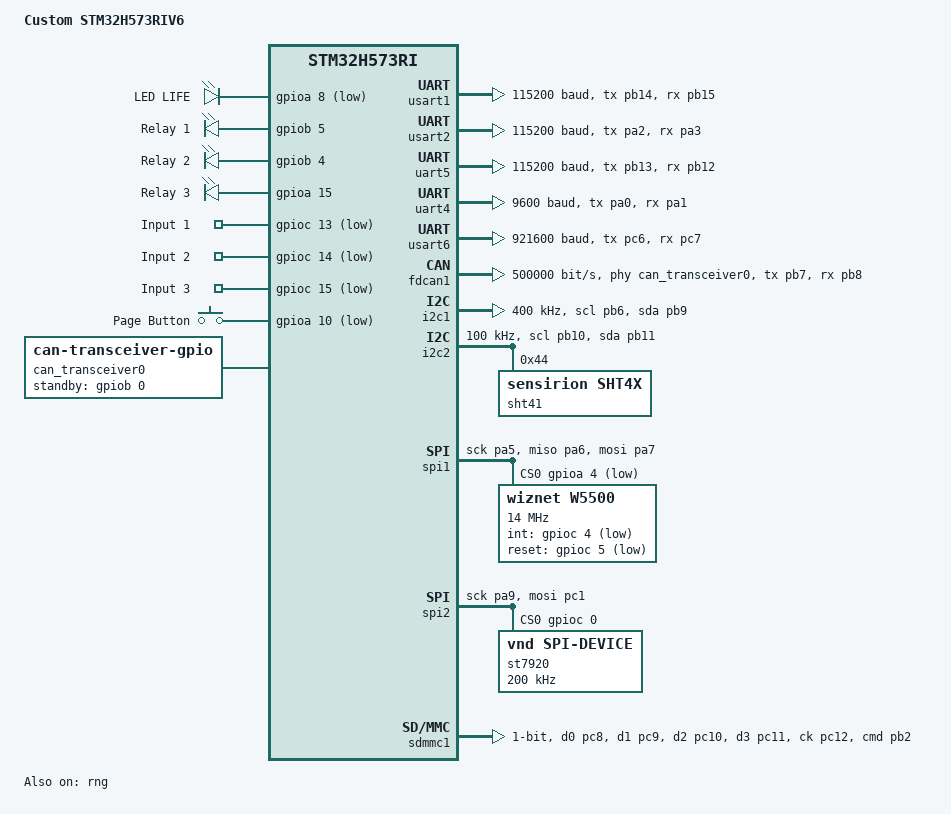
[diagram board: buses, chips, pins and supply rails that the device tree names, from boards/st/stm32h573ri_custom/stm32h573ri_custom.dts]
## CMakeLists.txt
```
cmake_minimum_required(VERSION 3.20.0)
find_package(Zephyr REQUIRED HINTS $ENV{ZEPHYR_BASE})
project(FPT_DMI_Embedded-IoT_Course VERSION 1.0.0)

# Thư mục chứa toàn bộ driver của môn học
set(DRIVER_DIR ${CMAKE_CURRENT_SOURCE_DIR}/driver)

# 1. Thư mục chứa file .h: MQTT cần thêm driver Ethernet
target_include_directories(app PRIVATE
  src
  ${DRIVER_DIR}/devices/ethernet
  ${DRIVER_DIR}/services/mqtt
  ${DRIVER_DIR}/peripherals/gpio
  ${DRIVER_DIR}/devices/dht11
)

# 2. Các file .c cần biên dịch
target_sources(app PRIVATE
  src/main.c
  ${DRIVER_DIR}/devices/ethernet/driver_ethernet.c
  ${DRIVER_DIR}/services/mqtt/driver_mqtt.c
  ${DRIVER_DIR}/peripherals/gpio/driver_gpio.c
  ${DRIVER_DIR}/devices/dht11/driver_dht11.c
)
```

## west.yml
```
# west manifest for FPT_DMI_Embedded-IoT_Course.
#
#   west init -l --mf FPT_DMI_Embedded-IoT_Course/west.yml fptUniversity
#   (run from the directory that holds the fptUniversity clone)
#   west update
#
# Only the modules this course needs are fetched.
manifest:
  version: "1.2"

  remotes:
    - name: zephyrproject-rtos
      url-base: https://github.com/zephyrproject-rtos

  projects:
    - name: zephyr
      remote: zephyrproject-rtos
      revision: v4.4.2
      import:
        name-allowlist:
          - cmsis
          - cmsis_6
          - hal_stm32
          - mbedtls
          - mcuboot
          - picolibc
          - segger
          - tf-psa-crypto
          - zcbor

  self:
    path: fptUniversity
```

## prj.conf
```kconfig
# --- Log over SEGGER RTT (read with scripts/rtt.sh) ---
CONFIG_PRINTK=y
CONFIG_CONSOLE=y
CONFIG_USE_SEGGER_RTT=y
CONFIG_RTT_CONSOLE=y
# No UART console (UART5 is reserved for the MCUboot log)
CONFIG_UART_CONSOLE=n
# No UART driver: every UART is switched off in app.overlay
CONFIG_SERIAL=n
CONFIG_UART_STM32=n
# Keep SWD reachable while the CPU sleeps (WFI), otherwise RTT/flashing loses the connection
CONFIG_STM32_ENABLE_DEBUG_SLEEP_STOP=y

# --- Required when running after MCUboot ---
CONFIG_BOOTLOADER_MCUBOOT=y

# --- Relay 1 (GPIO) and DHT11 ---
CONFIG_GPIO=y
CONFIG_SENSOR=y
CONFIG_DHT=y
CONFIG_DHT_LOCK_IRQS=y

# --- Ethernet (W5500 on SPI1) ---
CONFIG_SPI=y
CONFIG_ETH_W5500=y
CONFIG_NETWORKING=y
CONFIG_NET_L2_ETHERNET=y
CONFIG_NET_IPV4=y
CONFIG_NET_TCP=y
CONFIG_NET_UDP=y
CONFIG_NET_SOCKETS=y
CONFIG_NET_DHCPV4=y
CONFIG_NET_MGMT=y
CONFIG_NET_MGMT_EVENT=y
CONFIG_NET_TX_STACK_SIZE=2048
CONFIG_NET_RX_STACK_SIZE=2048
CONFIG_MAIN_STACK_SIZE=4096
CONFIG_HEAP_MEM_POOL_SIZE=16384

# --- MQTT ---
CONFIG_MQTT_LIB=y
CONFIG_NET_MAX_CONN=8
CONFIG_NET_MAX_CONTEXTS=12
CONFIG_ZVFS_POLL_MAX=6
CONFIG_POSIX_API=y

# --- DNS: resolve the broker host name (DNS server from DHCP, 8.8.8.8 as fallback) ---
CONFIG_DNS_RESOLVER=y
CONFIG_DNS_SERVER_IP_ADDRESSES=y
CONFIG_DNS_SERVER1="8.8.8.8"
```

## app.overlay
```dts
/*
 * app.overlay - example MQTT (DHT11 + Relay 1).
 *
 * Used here: SPI1 + W5500 (Ethernet), RNG (network), GPIO for DHT11 and Relay 1.
 * Everything else the board enables is switched off below.
 */

/* ---- Ethernet: every board on the same network needs its own MAC ---- */
&w5500 {
	local-mac-address = [00 08 DC 01 02 07];   /* change the last byte (hex) */
};

/ {
	/* DHT11 DATA on PE0 (U16-8) */
	dht11: dht11 {
		compatible = "aosong,dht";
		dio-gpios = <&gpioe 0 (GPIO_ACTIVE_LOW | GPIO_OPEN_DRAIN | GPIO_PULL_UP)>;
	};

	/* Relay 1 on PC2 (U16-5): output to an external relay module */
	output {
		compatible = "gpio-leds";
		relay: relay_1 {
			gpios = <&gpioc 2 GPIO_ACTIVE_HIGH>;
			label = "Relay 1 - PC2";
		};
	};

	aliases {
		dht0 = &dht11;
		out0 = &relay;
	};
};

&gpioe { status = "okay"; };   /* the board only enables gpioa..gpiod */

/* ---- Not used in this example: switched off ---- */
&usart1 { status = "disabled"; };   /* PB14/PB15 */
&usart2 { status = "disabled"; };   /* PA2/PA3 */
&uart4  { status = "disabled"; };   /* PA0/PA1, RS485 */
&uart5  { status = "disabled"; };   /* PB12/PB13, only MCUboot logs here */
&usart6 { status = "disabled"; };   /* PC6/PC7 */
&fdcan1 { status = "disabled"; };   /* CAN */
&i2c1   { status = "disabled"; };   /* PB6/PB9, LCD */
&i2c2   { status = "disabled"; };   /* PB10/PB11 */
&sht41  { status = "disabled"; };   /* SHT41 on I2C2 */
&spi2   { status = "disabled"; };   /* PA9/PC1/PC0 */
&sdmmc1 { status = "disabled"; };   /* SD card */
```

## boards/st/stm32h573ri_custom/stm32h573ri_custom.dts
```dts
/dts-v1/;
#include <st/h5/stm32h573Xi.dtsi>
#include "stm32h573ri_custom-pinctrl.dtsi"
/ {
    model="Custom STM32H573RIV6";
    compatible="st,stm32h573ri-custom";

    chosen {
        zephyr,console=&uart5;
        zephyr,shell-uart=&uart5;
        zephyr,sram=&sram1; zephyr,flash=&flash0;
        zephyr,code-partition=&slot0_partition;
        zephyr,canbus=&fdcan1;
        };

    leds {
        compatible="gpio-leds";
        /* LED5 "LED LIFE": anode to +3V3 via R81, cathode to PA8 -> active low */
        user_led: led_0 {
            gpios=<&gpioa 8 GPIO_ACTIVE_LOW>;
            label="LED LIFE";
        };
    };

    /*
     * Relays: MCU -> ISO7730 U12 -> BC817 -> coil, high = energised.
     * The schematic net names are reversed relative to the wiring; these
     * follow the wiring (PB5 drives RL1, PA15 drives RL3).
     */
    relays {
        compatible="gpio-leds";
        relay_1: relay_1 { gpios=<&gpiob 5 GPIO_ACTIVE_HIGH>;  label="Relay 1"; };
        relay_2: relay_2 { gpios=<&gpiob 4 GPIO_ACTIVE_HIGH>;  label="Relay 2"; };
        relay_3: relay_3 { gpios=<&gpioa 15 GPIO_ACTIVE_HIGH>; label="Relay 3"; };
    };

    /* Isolated inputs: PC814 opto -> ISO7730 U10 (push-pull), energised = low */
    digital_inputs {
        compatible="gpio-keys";
        input_1: input_1 { gpios=<&gpioc 13 GPIO_ACTIVE_LOW>; label="Input 1"; };
        input_2: input_2 { gpios=<&gpioc 14 GPIO_ACTIVE_LOW>; label="Input 2"; };
        input_3: input_3 { gpios=<&gpioc 15 GPIO_ACTIVE_LOW>; label="Input 3"; };
    };

    buttons {
        compatible = "gpio-keys";
        user_btn: button_0 {
            gpios = <&gpioa 10 (GPIO_ACTIVE_LOW | GPIO_PULL_UP)>;
            label = "Page Button";
        };
    };

    can_transceiver0: can-phy0 {
        compatible="can-transceiver-gpio";
        /* TCAN1057 S via ISO7731 U7, R90 pull-up: high = silent */
        standby-gpios=<&gpiob 0 GPIO_ACTIVE_HIGH>;
        max-bitrate=<1000000>;
        #phy-cells=<0>;
        };

    aliases {
        led0=&user_led;
        relay1=&relay_1; relay2=&relay_2; relay3=&relay_3;
        input1=&input_1; input2=&input_2; input3=&input_3;
    };
};

&clk_hsi { status="okay"; };

&clk_hsi48 { status="okay"; };

&clk_lsi { status="okay"; };

&pll1 {
    div-m=<32>;
    mul-n=<250>;
    div-p=<2>;
    div-q=<10>;
    div-r=<2>;
    clocks=<&clk_hsi>;
    status="okay";
};

&rcc {
    clocks=<&pll1>;
    clock-frequency=<DT_FREQ_M(250)>;
    ahb-prescaler=<1>;
    apb1-prescaler=<1>;
    apb2-prescaler=<1>;
    apb3-prescaler=<1>;
    };

&flash0 {
    partitions {
        compatible="fixed-partitions";
        #address-cells=<1>;
        #size-cells=<1>;

boot_partition:      partition@0      { label="mcuboot";       reg=<0x0      0x20000>; read-only; };
slot0_partition:     partition@20000  { label="image-0";       reg=<0x20000  0xb0000>; };
scratch_partition:   partition@d0000  { label="image-scratch"; reg=<0xd0000  0x20000>; };
slot1_partition:     partition@f0000  { label="image-1";       reg=<0xf0000  0xb0000>; };
storage_partition:   partition@1a0000 { label="config-a";      reg=<0x1a0000 0x8000>; };
storage_b_partition: partition@1a8000 { label="config-b";      reg=<0x1a8000 0x8000>; };
marker_partition:    partition@1b0000 { label="swapmark";      reg=<0x1b0000 0x2000>; }; }; };


&usart1 {
    pinctrl-0=<&usart1_tx_pb14 &usart1_rx_pb15>;
    pinctrl-names="default";
    current-speed=<115200>;
    status="okay";
    };

&usart2 {
    pinctrl-0=<&usart2_tx_pa2 &usart2_rx_pa3>;
    pinctrl-names="default";
    current-speed=<115200>;
    status="okay";
    };

&uart5 {
    pinctrl-0=<&uart5_tx_pb13 &uart5_rx_pb12>;
    pinctrl-names="default";
    current-speed=<115200>;
    status="okay";
    };

&uart4 {
    pinctrl-0=<&uart4_tx_pa0 &uart4_rx_pa1>;
    pinctrl-names="default";
    current-speed=<9600>;
    status="okay";
    };

&usart6 {
    pinctrl-0=<&usart6_tx_pc6 &usart6_rx_pc7>;
    pinctrl-names="default";
    current-speed=<921600>;
    status="okay";
    };

&fdcan1 {
    clocks=<&rcc STM32_CLOCK_BUS_APB1_2 0x00000200>,<&rcc STM32_SRC_PLL1_Q FDCAN_SEL(1)>;
    pinctrl-0=<&fdcan1_tx_pb7 &fdcan1_rx_pb8>;
    pinctrl-names="default";
    phys=<&can_transceiver0>;
    bitrate=<500000>;
    sample-point=<875>;
    status="okay";
    };

&i2c1 {
    clocks=<&rcc STM32_CLOCK_BUS_APB1 0x00200000>,<&rcc STM32_SRC_HSI I2C1_SEL(2)>;
    pinctrl-0=<&i2c1_scl_pb6 &i2c1_sda_pb9>;
    pinctrl-names="default";
    clock-frequency=<I2C_BITRATE_FAST>;
    status="okay";
    };

&i2c2 {
    clocks=<&rcc STM32_CLOCK_BUS_APB1 0x00400000>,<&rcc STM32_SRC_HSI I2C2_SEL(2)>;
    pinctrl-0=<&i2c2_scl_pb10 &i2c2_sda_pb11>;
    pinctrl-names="default";
    clock-frequency=<I2C_BITRATE_STANDARD>;
    status="okay";

    sht41: sht4x@44 {
        compatible="sensirion,sht4x";
        reg=<0x44>; repeatability=<2>;
        };
    };

&spi1 {
    pinctrl-0=<&spi1_sck_pa5 &spi1_miso_pa6 &spi1_mosi_pa7>;
    pinctrl-names="default";
    cs-gpios=<&gpioa 4 GPIO_ACTIVE_LOW>;
    status="okay";

    w5500: w5500@0 {
        compatible="wiznet,w5500";
        reg=<0>; spi-max-frequency=<14000000>;
        int-gpios=<&gpioc 4 GPIO_ACTIVE_LOW>;
        reset-gpios=<&gpioc 5 GPIO_ACTIVE_LOW>;
        local-mac-address=[00 08 DC 01 02 03];
        };
    };

&spi2 {
    /* Kernel clock = PLL1_Q (50 MHz): /256 gives ~195 kHz for the ST7920.
     * With the bus clock alone the driver divides 250 MHz and cannot go
     * below ~977 kHz, so every transfer is rejected. */
    clocks=<&rcc STM32_CLOCK_BUS_APB1 0x00004000>,<&rcc STM32_SRC_PLL1_Q SPI2_SEL(0)>;
    pinctrl-0 = <&spi2_sck_pa9 &spi2_mosi_pc1>;
    pinctrl-names = "default";
    cs-gpios = <&gpioc 0 GPIO_ACTIVE_HIGH>;
    status = "okay";

    st7920: st7920@0 {
        compatible = "vnd,spi-device";
        reg = <0>;
        spi-max-frequency = <200000>;
        };
    };

&sdmmc1 {
    pinctrl-0=<&sdmmc1_d0_pc8 &sdmmc1_d1_pc9 &sdmmc1_d2_pc10 &sdmmc1_d3_pc11 &sdmmc1_ck_pc12 &sdmmc1_cmd_pb2>;
    pinctrl-names="default";
    clocks=<&rcc STM32_CLOCK(AHB4, 11U)>,<&rcc STM32_SRC_HSI48 SDMMC1_SEL(0)>;
    bus-width=<1>; disk-name="SD"; status="okay";
    };

&gpioa { status="okay"; };

&gpiob { status="okay"; };

&gpioc { status="okay"; };

&gpiod { status="okay"; };

&rng { status="okay"; };
```

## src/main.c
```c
#include <strings.h>
#include <zephyr/kernel.h>
#include <zephyr/sys/printk.h>
#include <zephyr/net/socket.h>
#include "driver_ethernet.h"
#include "driver_mqtt.h"
#include "driver_gpio.h"
#include "driver_dht11.h"

/*
 * ===================== MQTT BROKER SETTINGS =====================
 * BROKER_HOST: broker address, either a domain name (URL) or an IP.
 *              Host name only: drop "mqtt://", "tcp://" and ":port".
 *              Example: URL "mqtt://broker.abc.com:1883" -> "broker.abc.com"
 * BROKER_PORT: TCP port of the broker, usually 1883.
 *              The driver has no TLS, so port 8883 does not work.
 * DEVICE_NAME: name of this board, used as the MQTT client id and in the
 *              topics. At most 31 characters. Every board needs its own name
 *              (the broker drops a client when another one connects with
 *              the same name).
 * MQTT_USER  : user name. Leave "" if the broker allows anonymous clients.
 * MQTT_PASS  : password. Leave "" if not needed. Sent in clear text (no TLS).
 * TOPIC_PREFIX: the server only accepts topics that start with this prefix.
 * TOPIC_PUB  : the board publishes its status here (TOPIC_PREFIX/DEVICE_NAME/status).
 * TOPIC_SUB  : the board receives commands here   (TOPIC_PREFIX/DEVICE_NAME/cmd).
 *              '+' matches one level, '#' matches all remaining levels.
 *              A topic may be at most 63 characters (checked at build time).
 * =================================================================
 */
#define BROKER_HOST  "broker.abc.com"
#define BROKER_PORT  1883
#define DEVICE_NAME  "fptSE123456"
#define MQTT_USER    ""
#define MQTT_PASS    ""
#define TOPIC_PREFIX "users/admin@example.com"

#define CLIENT_ID    DEVICE_NAME
#define TOPIC_PUB    TOPIC_PREFIX "/" DEVICE_NAME "/status"
#define TOPIC_SUB    TOPIC_PREFIX "/" DEVICE_NAME "/cmd"

/* Stop the build if a name is too long for the MQTT driver */
BUILD_ASSERT(sizeof(CLIENT_ID) - 1 <= DRIVER_MQTT_MAX_CLIENT_ID, "DEVICE_NAME is too long");
BUILD_ASSERT(sizeof(TOPIC_PUB) - 1 <= DRIVER_MQTT_MAX_TOPIC, "TOPIC_PUB is too long");
BUILD_ASSERT(sizeof(TOPIC_SUB) - 1 <= DRIVER_MQTT_MAX_TOPIC, "TOPIC_SUB is too long");

#define STATUS_PERIOD_MS 5000   /* status every 5 s (DHT11 needs at least 2 s) */

#define RELAY_1 0                /* alias out0 */
#define DHT     0                /* alias dht0 */

static bool relay_on;
static bool status_now;          /* set by a command: publish the status at once */

/* DNS lookup: turn the host name into an IP address string "x.x.x.x" */
static int resolve_host(const char *host, char *ip, size_t len)
{
	struct zsock_addrinfo hints = {
		.ai_family = NET_AF_INET,
		.ai_socktype = NET_SOCK_STREAM,
	};
	struct zsock_addrinfo *res = NULL;
	struct net_sockaddr_in *addr;

	if (zsock_getaddrinfo(host, NULL, &hints, &res) != 0 || res == NULL) {
		return -1;
	}
	addr = (struct net_sockaddr_in *)res->ai_addr;
	net_addr_ntop(NET_AF_INET, &addr->sin_addr, ip, len);
	zsock_freeaddrinfo(res);
	return 0;
}

/*
 * Read the DHT11 and publish the status as JSON, for example:
 *   {"temp":28,"humi":61,"relay":"ON"}
 * If the sensor cannot be read, temp and humi are null.
 */
static void publish_status(void)
{
	const char *relay = relay_on ? "ON" : "OFF";
	int temp, humi;
	int ret;

	if (driver_dht11_read(DHT, &temp, &humi) == 0) {
		ret = driver_mqtt_publishf(TOPIC_PUB, 0,
					   "{\"temp\":%d,\"humi\":%d,\"relay\":\"%s\"}",
					   temp, humi, relay);
		printk("Status: temp %d C, humi %d %%, relay %s", temp, humi, relay);
	} else {
		ret = driver_mqtt_publishf(TOPIC_PUB, 0,
					   "{\"temp\":null,\"humi\":null,\"relay\":\"%s\"}",
					   relay);
		printk("Status: DHT11 read error, relay %s", relay);
	}
	if (ret == 0) {
		printk(" -> sent\n");
	} else {
		printk(" -> not sent (%d)\n", ret);
	}
}

/* Called for every message on TOPIC_SUB: "ON" or "OFF" switches Relay 1 */
static void on_message(const char *topic, const uint8_t *payload, size_t len)
{
	printk("Received [%s]: %.*s\n", topic, (int)len, payload);

	if (len == 2 && strncasecmp((const char *)payload, "ON", 2) == 0) {
		relay_on = true;
	} else if (len == 3 && strncasecmp((const char *)payload, "OFF", 3) == 0) {
		relay_on = false;
	} else {
		printk("Unknown command, use ON or OFF\n");
		return;
	}
	driver_gpio_set(RELAY_1, relay_on);
	printk("Relay 1 %s\n", relay_on ? "ON" : "OFF");
	status_now = true;
}

int main(void)
{
	char ip[DRIVER_ETHERNET_IP_STR_LEN];
	char broker_ip[DRIVER_ETHERNET_IP_STR_LEN];
	int64_t last_status = 0;

	printk("Example: MQTT status (DHT11 + Relay 1)\n");

	/* 1. Relay 1 (starts OFF) and DHT11 */
	if (driver_gpio_out_init(RELAY_1) < 0) {
		printk("Relay init failed\n");
		return 0;
	}
	if (driver_dht11_init(DHT) < 0) {
		printk("DHT11 init failed\n");
		return 0;
	}

	/* 2. Join the network, get an IP address by DHCP */
	if (driver_ethernet_init() < 0) {
		printk("Ethernet init failed\n");
		return 0;
	}
	if (driver_ethernet_wait_ip(K_SECONDS(30)) < 0) {
		printk("No IP address, check the network cable\n");
		return 0;
	}
	driver_ethernet_get_ip(ip, sizeof(ip));
	printk("Board IP: %s\n", ip);

	/* 3. Resolve the broker name (DNS server given by the router over DHCP) */
	while (resolve_host(BROKER_HOST, broker_ip, sizeof(broker_ip)) < 0) {
		printk("DNS lookup for %s failed, retrying...\n", BROKER_HOST);
		k_msleep(3000);
	}
	printk("Broker %s -> %s:%d\n", BROKER_HOST, broker_ip, BROKER_PORT);

	/* 4. Broker address, user name and password */
	if (driver_mqtt_init(broker_ip, BROKER_PORT, CLIENT_ID) < 0) {
		printk("Invalid BROKER_PORT / DEVICE_NAME\n");
		return 0;
	}
	if (MQTT_USER[0] != '\0') {
		driver_mqtt_set_auth(MQTT_USER, MQTT_PASS);
	}

	/* 5. Subscribe: the driver subscribes again after every reconnection */
	driver_mqtt_subscribe(TOPIC_SUB, 1, on_message);

	/* 6. Connect to the broker */
	while (driver_mqtt_connect(K_SECONDS(5)) < 0) {
		printk("Cannot connect to broker %s:%d, retrying...\n", BROKER_HOST, BROKER_PORT);
		k_msleep(2000);
	}
	printk("MQTT connected\n");

	while (1) {
		/* Call often: receives messages, keeps the connection alive, reconnects */
		driver_mqtt_process(K_MSEC(100));

		/* Publish the status every STATUS_PERIOD_MS, and right after a command.
		 * The DHT11 can only be read every 2 s.
		 */
		if (k_uptime_get() - last_status >= STATUS_PERIOD_MS ||
		    (status_now && k_uptime_get() - last_status >= DRIVER_DHT11_MIN_INTERVAL_MS)) {
			last_status = k_uptime_get();
			status_now = false;
			publish_status();
		}
	}
	return 0;
}
```
